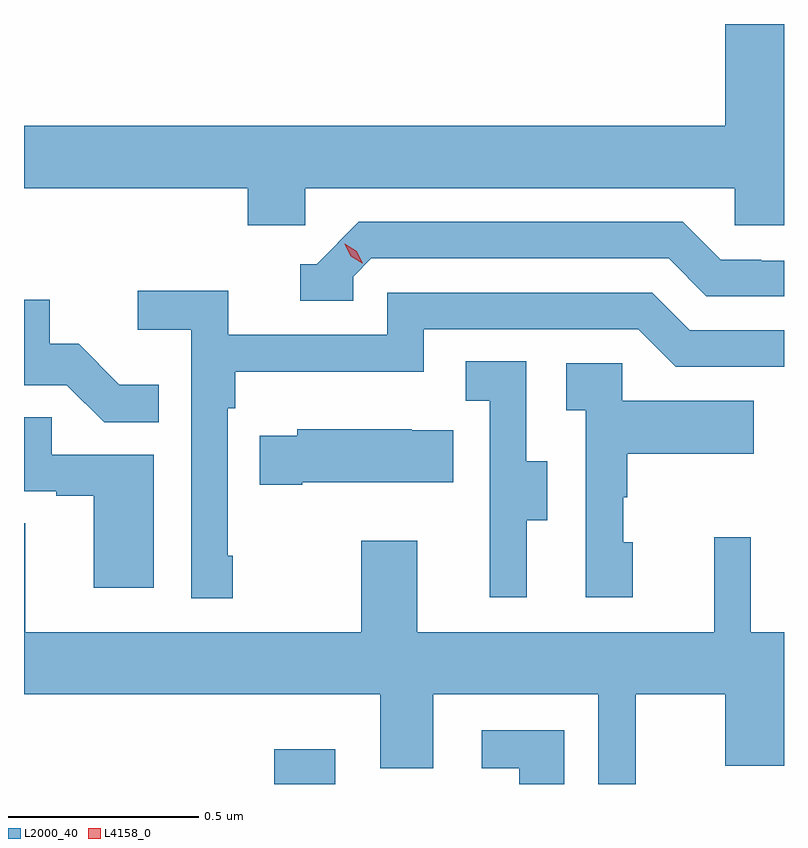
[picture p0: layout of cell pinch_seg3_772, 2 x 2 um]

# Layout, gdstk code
import gdstk
lib = gdstk.Library(unit=1e-6, precision=1e-09)
def R(c, l, rs):  # rectangles x0, y0, x1, y1
    for r in rs: c.add(gdstk.rectangle(r[:2], r[2:], *l))
def P(c, l, *ps):  # polygons
    for p in ps: c.add(gdstk.Polygon(p, *l))
L2000_40 = (2000, 40)
L4158_0 = (4158, 0)

pinch_seg3_772 = lib.new_cell('pinch_seg3_772')
R(pinch_seg3_772, L2000_40, [(835.148,741.972,835.309,742.063)])
P(pinch_seg3_772, L2000_40, [(836.361,743.442),(836.49,743.442),(836.49,743.972),(836.336,743.972),(836.336,743.704),(834.49,743.704),(834.49,743.54),(835.079,743.54),(835.079,743.442),(835.23,743.442),(835.23,743.54),(836.361,743.54)],
  [(835.356,743.307),(835.404,743.355),(836.187,743.355),(836.286,743.256),(836.49,743.256),(836.49,743.349),(836.43,743.349),(836.43,743.352),(836.323,743.352),(836.224,743.451),(835.371,743.451),(835.26,743.34),(835.217,743.34),(835.217,743.244),(835.356,743.244)],
  [(835.039,742.573),(835.026,742.573),(835.026,742.961),(835.046,742.961),(835.046,743.057),(835.542,743.057),(835.542,743.169),(836.106,743.169),(836.205,743.07),(836.49,743.07),(836.49,743.166),(836.242,743.166),(836.143,743.265),(835.446,743.265),(835.446,743.154),(835.028,743.154),(835.028,743.27),(834.789,743.27),(834.789,743.168),(834.93,743.168),(834.93,742.461),(835.039,742.461)],
  [(834.845,743.023),(834.741,743.023),(834.634,743.13),(834.558,743.13),(834.558,743.247),(834.49,743.247),(834.49,743.022),(834.603,743.022),(834.701,742.924),(834.845,742.924)],
  [(835.813,742.666),(835.867,742.666),(835.867,742.821),(835.812,742.821),(835.812,743.084),(835.653,743.084),(835.653,742.981),(835.716,742.981),(835.716,742.677),(835.715,742.677),(835.715,742.464),(835.813,742.464)],
  [(836.092,742.608),(836.067,742.608),(836.067,742.727),(836.077,742.727),(836.077,742.841),(836.411,742.841),(836.411,742.981),(836.064,742.981),(836.064,743.079),(835.917,743.079),(835.917,742.955),(835.968,742.955),(835.968,742.464),(836.092,742.464)],
  [(834.832,742.839),(834.563,742.839),(834.563,742.937),(834.49,742.937),(834.49,742.743),(834.575,742.743),(834.575,742.731),(834.674,742.731),(834.674,742.488),(834.832,742.488)],
  [(835.222,742.766),(835.619,742.766),(835.619,742.903),(835.511,742.903),(835.511,742.906),(835.209,742.906),(835.209,742.888),(835.111,742.888),(835.111,742.759),(835.222,742.759)],
  [(836.1,742.208),(836.336,742.208),(836.336,742.02),(836.49,742.02),(836.49,742.372),(836.403,742.372),(836.403,742.621),(836.306,742.621),(836.306,742.372),(835.525,742.372),(835.525,742.612),(835.378,742.612),(835.378,742.372),(834.493,742.372),(834.493,742.658),(834.49,742.658),(834.49,742.208),(835.427,742.208),(835.427,742.014),(835.567,742.014),(835.567,742.208),(836.001,742.208),(836.001,741.972),(836.1,741.972)],
  [(835.912,742.114),(835.695,742.114),(835.695,742.013),(835.793,742.013),(835.793,741.972),(835.912,741.972)])
P(pinch_seg3_772, L4158_0, [(835.38,743.342),(835.35,743.361),(835.334,743.394),(835.334,743.394),(835.334,743.394),(835.365,743.374),(835.381,743.342),(835.381,743.342)])

lib.write_gds('pinch_seg3_772.gds')
